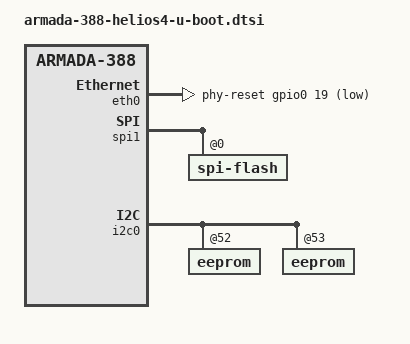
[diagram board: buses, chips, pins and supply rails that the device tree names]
// SPDX-License-Identifier: GPL-2.0+

&eth0 {
	phy-reset-gpios = <&gpio0 19 GPIO_ACTIVE_LOW>;
};

&spi1 {
	bootph-pre-ram;
	spi-flash@0 {
		bootph-pre-ram;
	};
};

&w25q32 {
	bootph-pre-ram;
};

&gpio0 {
	bootph-pre-ram;
};

&ahci0 {
	bootph-pre-ram;
};

&ahci1 {
	bootph-pre-ram;
};

&sdhci {
	bootph-pre-ram;
};

&i2c0 {
	bootph-pre-ram;

	eeprom@52 {
		bootph-pre-ram;
	};

	eeprom@53 {
		bootph-pre-ram;
	};
};

#include "mvebu-u-boot.dtsi"
